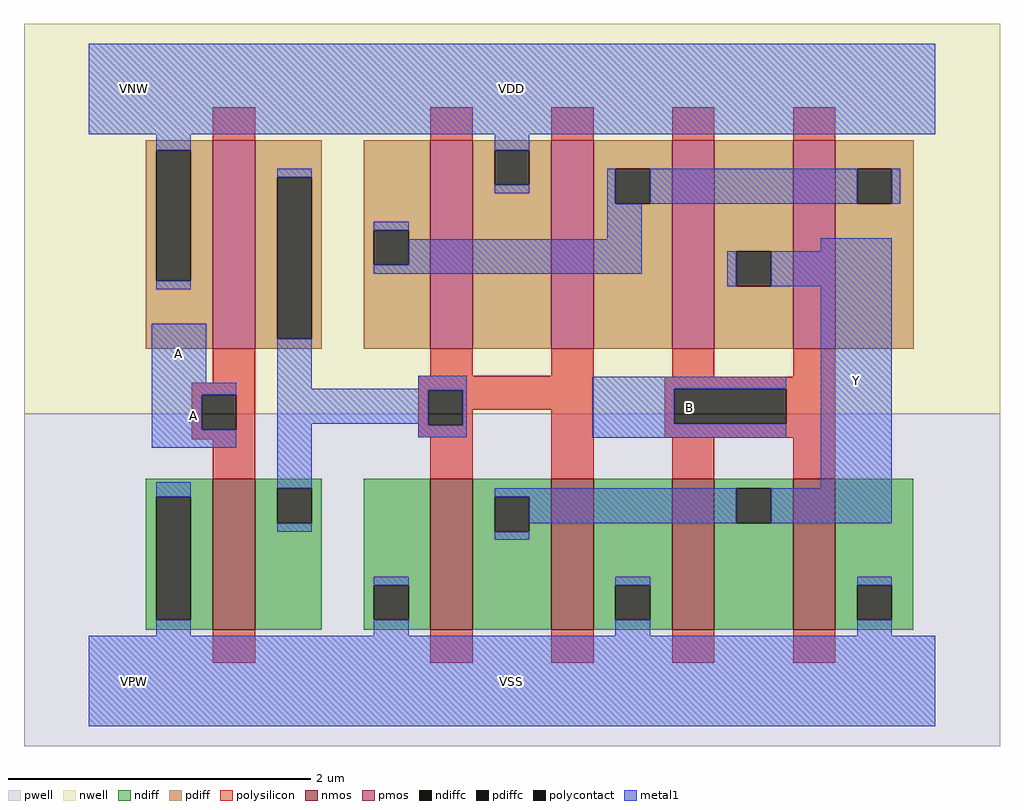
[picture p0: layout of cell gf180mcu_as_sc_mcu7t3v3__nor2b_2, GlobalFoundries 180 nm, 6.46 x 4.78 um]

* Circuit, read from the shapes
.subckt gf180mcu_as_sc_mcu7t3v3__nor2b_2 VDD VNW VPW VSS Y B A
XM1 n1 A VSS VPW nfet_03v3 w=1u l=0.28u
XM2 Y n1 VSS VPW nfet_03v3 w=1u l=0.28u m=2
XM3 Y B VSS VPW nfet_03v3 w=1u l=0.28u m=2
XM4 n1 A VDD VNW pfet_03v3 w=1.38u l=0.28u
XM5 VDD n1 n2 VNW pfet_03v3 w=1.38u l=0.28u m=2
XM6 Y B n2 VNW pfet_03v3 w=1.38u l=0.28u m=2
.ends

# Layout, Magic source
magic
tech gf180mcuD
magscale 1 10
<< nwell >>
rect -86 354 1206 870
<< pwell >>
rect -86 -86 1206 354
<< nmos >>
rect 164 68 220 268
rect 452 68 508 268
rect 612 68 668 268
rect 772 68 828 268
rect 932 68 988 268
<< pmos >>
rect 164 440 220 716
rect 452 440 508 716
rect 612 440 668 716
rect 772 440 828 716
rect 932 440 988 716
<< ndiff >>
rect 75 244 164 268
rect 75 81 89 244
rect 135 81 164 244
rect 75 68 164 81
rect 220 255 308 268
rect 220 209 249 255
rect 295 209 308 255
rect 220 68 308 209
rect 364 127 452 268
rect 364 81 377 127
rect 423 81 452 127
rect 364 68 452 81
rect 508 244 612 268
rect 508 198 537 244
rect 583 198 612 244
rect 508 68 612 198
rect 668 127 772 268
rect 668 81 697 127
rect 743 81 772 127
rect 668 68 772 81
rect 828 255 932 268
rect 828 209 857 255
rect 903 209 932 255
rect 828 68 932 209
rect 988 127 1091 268
rect 988 81 1017 127
rect 1063 81 1091 127
rect 988 68 1091 81
<< pdiff >>
rect 75 703 164 716
rect 75 530 89 703
rect 135 530 164 703
rect 75 440 164 530
rect 220 667 308 716
rect 220 453 249 667
rect 295 453 308 667
rect 220 440 308 453
rect 364 597 452 716
rect 364 551 377 597
rect 423 551 452 597
rect 364 440 452 551
rect 508 703 612 716
rect 508 657 537 703
rect 583 657 612 703
rect 508 440 612 657
rect 668 678 772 716
rect 668 632 697 678
rect 743 632 772 678
rect 668 440 772 632
rect 828 569 932 716
rect 828 523 857 569
rect 903 523 932 569
rect 828 440 932 523
rect 988 678 1092 716
rect 988 632 1017 678
rect 1063 632 1092 678
rect 988 440 1092 632
<< ndiffc >>
rect 89 81 135 244
rect 249 209 295 255
rect 377 81 423 127
rect 537 198 583 244
rect 697 81 743 127
rect 857 209 903 255
rect 1017 81 1063 127
<< pdiffc >>
rect 89 530 135 703
rect 249 453 295 667
rect 377 551 423 597
rect 537 657 583 703
rect 697 632 743 678
rect 857 523 903 569
rect 1017 632 1063 678
<< polysilicon >>
rect 164 716 220 760
rect 452 716 508 760
rect 612 716 668 760
rect 772 716 828 760
rect 932 716 988 760
rect 164 395 220 440
rect 452 404 508 440
rect 612 404 668 440
rect 136 379 220 395
rect 136 333 149 379
rect 195 333 220 379
rect 136 320 220 333
rect 436 385 668 404
rect 772 403 828 440
rect 932 403 988 440
rect 436 339 449 385
rect 495 359 668 385
rect 495 339 508 359
rect 436 323 508 339
rect 164 268 220 320
rect 452 268 508 323
rect 612 268 668 359
rect 762 387 988 403
rect 762 341 775 387
rect 923 341 988 387
rect 762 322 988 341
rect 772 268 828 322
rect 932 268 988 322
rect 164 24 220 68
rect 452 24 508 68
rect 612 24 668 68
rect 772 24 828 68
rect 932 24 988 68
<< polycontact >>
rect 149 333 195 379
rect 449 339 495 385
rect 775 341 923 387
<< metal1 >>
rect 0 724 1120 844
rect 89 703 135 724
rect 537 703 583 724
rect 89 519 135 530
rect 249 667 295 678
rect 83 395 155 473
rect 537 646 583 657
rect 686 632 697 678
rect 743 632 1017 678
rect 1063 632 1074 678
rect 377 597 423 608
rect 686 585 732 632
rect 423 551 732 585
rect 969 569 1063 586
rect 377 539 732 551
rect 845 523 857 569
rect 903 523 1063 569
rect 83 379 195 395
rect 83 333 149 379
rect 83 309 195 333
rect 249 387 295 453
rect 436 387 500 404
rect 249 385 500 387
rect 249 341 449 385
rect 89 244 135 263
rect 249 255 295 341
rect 436 339 449 341
rect 495 339 500 385
rect 436 323 500 339
rect 666 387 923 403
rect 666 341 775 387
rect 666 322 923 341
rect 969 255 1063 523
rect 249 198 295 209
rect 537 244 857 255
rect 583 209 857 244
rect 903 209 1063 255
rect 537 187 583 198
rect 89 60 135 81
rect 377 127 423 138
rect 377 60 423 81
rect 697 127 743 138
rect 697 60 743 81
rect 1017 127 1063 138
rect 1017 60 1063 81
rect 0 -60 1120 60
<< labels >>
flabel metal1 s 0 724 1120 844 0 FreeSans 400 0 0 0 VDD
port 1 nsew power bidirectional abutment
flabel metal1 s 0 -60 1120 60 0 FreeSans 400 0 0 0 VSS
port 4 nsew ground bidirectional abutment
flabel nwell s 10 734 110 834 0 FreeSans 400 0 0 0 VNW
port 2 nsew power bidirectional
flabel pwell s 10 -50 110 50 0 FreeSans 400 0 0 0 VPW
port 3 nsew ground bidirectional
flabel metal1 969 210 1063 586 0 FreeSans 200 0 0 0 Y
port 5 nsew signal output
flabel metal1 666 322 923 403 0 FreeSans 200 0 0 0 B
port 6 nsew signal input
flabel metal1 83 309 195 395 0 FreeSans 200 0 0 0 A
port 7 nsew signal input
flabel metal1 83 395 155 473 0 FreeSans 200 0 0 0 A
port 7 nsew signal input
<< properties >>
string FIXED_BBOX 0 0 1120 784
string LEFclass CORE
string LEFsite unithd
string LEFsymmetry X Y
string MASKHINTS_NPLUS -16 -46 1136 354
string MASKHINTS_PPLUS -16 354 1136 830
<< end >>
